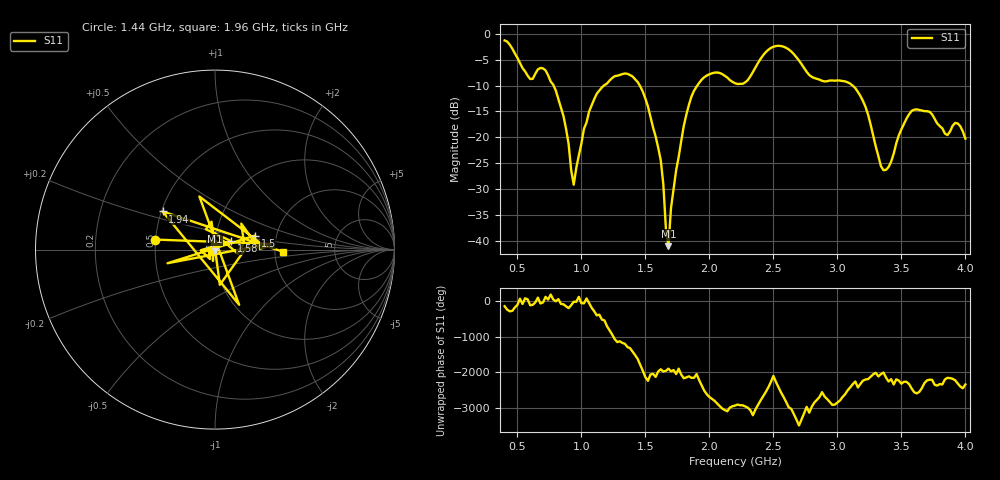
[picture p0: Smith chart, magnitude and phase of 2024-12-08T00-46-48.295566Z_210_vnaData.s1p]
!Created with skrf (http://scikit-rf.org).
# Hz S RI R 50.0
!freq ReS11 ImS11
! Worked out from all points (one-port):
!   181 points, 400 MHz to 4 GHz, reference 50 ohm
!   lowest |S11| = -41.1 dB at 1.68 GHz (marker M1), VSWR 1.02, Z = 49.8 - j0.868 ohm
!   |S11| at or under -10 dB: 782.8 MHz to 1.176 GHz (393.3 MHz wide, 40.2 % of centre); 1.456 GHz to 1.906 GHz (449.7 MHz wide, 26.8 % of centre); 3.119 GHz to end of sweep
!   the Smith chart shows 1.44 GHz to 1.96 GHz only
!   S11 on the Smith chart (normalised r, x): 1.44 GHz: 0.49, +0.06; 1.5 GHz: 1.55, +0.26; 1.58 GHz: 1.19, +0.11; 1.94 GHz: 0.51, +0.25; 1.96 GHz: 2.23, -0.06
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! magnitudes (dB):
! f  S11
! 400 MHz  -1.3
! 600 MHz  -8.7
! 720 MHz  -7.1
! 860 MHz  -15.9
! 940 MHz  -29.2
! 1.02 GHz  -18.4
! 1.1 GHz  -12.6
! 1.3 GHz  -8.0
! 1.44 GHz  -9.3
! 1.5 GHz  -12.5
! 1.58 GHz  -19.9
! 1.62 GHz  -24.5
! 1.68 GHz  -41.1
! 1.7 GHz  -33.7
! 1.76 GHz  -23.8
! 1.84 GHz  -13.7
! 1.94 GHz  -8.8
! 1.96 GHz  -8.4
! 2.2 GHz  -9.5
! 2.48 GHz  -2.7
! 2.66 GHz  -3.9
! 2.8 GHz  -8.3
! 3.1 GHz  -9.6
! 3.22 GHz  -14.1
! 3.36 GHz  -26.4
! 3.56 GHz  -15.6
! 3.94 GHz  -17.3
! 4 GHz  -20.3
